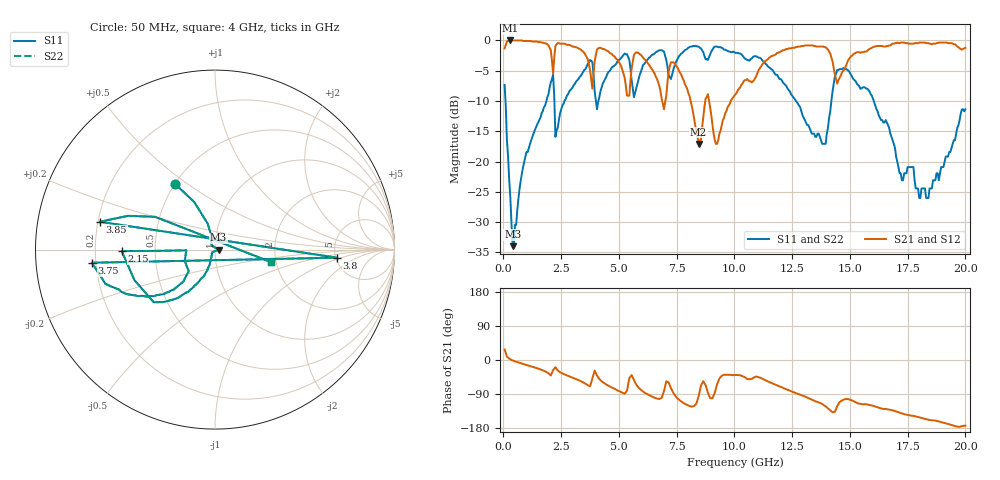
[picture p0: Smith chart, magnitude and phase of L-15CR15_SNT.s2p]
#	mhz	s	ma	r	50
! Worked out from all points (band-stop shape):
!   400 points, 50 MHz to 20 GHz, reference 50 ohm
!   highest |S21| = 0.00 dB at 300 MHz (marker M1); lowest = -17.1 dB at 8.45 GHz (marker M2)
!   |S21| within 3 dB of the highest: 11.47 GHz to 14.21 GHz (2.742 GHz wide, 21.4 % of centre); 14.97 GHz to end of sweep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
!   lowest |S11| = -34.0 dB at 400 MHz (marker M3), VSWR 1.04, Z = 52 - j0.134 ohm
!   |S11| at or under -10 dB: 89.01 MHz to 1.861 GHz (1.772 GHz wide, 182 % of centre); 12.67 GHz to 14.2 GHz (1.528 GHz wide, 11.4 % of centre); 16.03 GHz to end of sweep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
!   |S22| runs from -34.0 to -0.9 dB; largest |S21 - S12| = 0
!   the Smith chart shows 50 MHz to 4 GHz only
!   S11 on the Smith chart (normalised r, x): 50 MHz: 0.50, +0.45; 2.15 GHz: 0.32, -0.01; 3.75 GHz: 0.18, -0.05; 3.8 GHz: 5.10, -0.86; 3.85 GHz: 0.21, +0.11; 4 GHz: 1.88, -0.29
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50  0.43 121.4  0.86 27.8  0.86 27.8  0.43 121.4
300  0.05 116.2  1 1.8  1 1.8  0.05 116.2
400  0.02 -3.7  1 -1.2  1 -1.2  0.02 -3.7
2150  0.52 -179.1  0.53 -26.6  0.53 -26.6  0.52 -179.1
2250  0.16 -178.5  0.9 -18.9  0.9 -18.9  0.16 -178.5
3400  0.53 -151.6  0.82 -57.3  0.82 -57.3  0.53 -151.6
3750  0.69 -173.9  0.57 -69.4  0.57 -69.4  0.69 -173.9
3800  0.68 -3.8  0.48 -59.1  0.48 -59.1  0.68 -3.8
3850  0.66 166.4  0.4 -48.9  0.4 -48.9  0.66 166.4
4000  0.32 -12.6  0.76 -34.5  0.76 -34.5  0.32 -12.6
4050  0.27 -176.5  0.84 -41.0  0.84 -41.0  0.27 -176.5
4950  0.68 -177.4  0.69 -80.8  0.69 -80.8  0.68 -177.4
5000  0.69 0.7  0.66 -82.0  0.66 -82.0  0.69 0.7
5050  0.7 178.8  0.64 -83.1  0.64 -83.1  0.7 178.8
6700  0.82 155.4  0.45 -102.4  0.45 -102.4  0.82 155.4
8450  0.89 107.8  0.14 -96.0  0.14 -96.0  0.89 107.8
10050  0.79 82.2  0.36 -39.4  0.36 -39.4  0.79 82.2
13350  0.17 33.6  0.91 -104.7  0.91 -104.7  0.17 33.6
14700  0.59 17.6  0.56 -105.6  0.56 -105.6  0.59 17.6
16700  0.19 10.6  0.91 -130.9  0.91 -130.9  0.19 10.6
18400  0.05 58.6  0.95 -157.9  0.95 -157.9  0.05 58.6
20000  0.27 -55.0  0.87 -173.3  0.87 -173.3  0.27 -55.0
